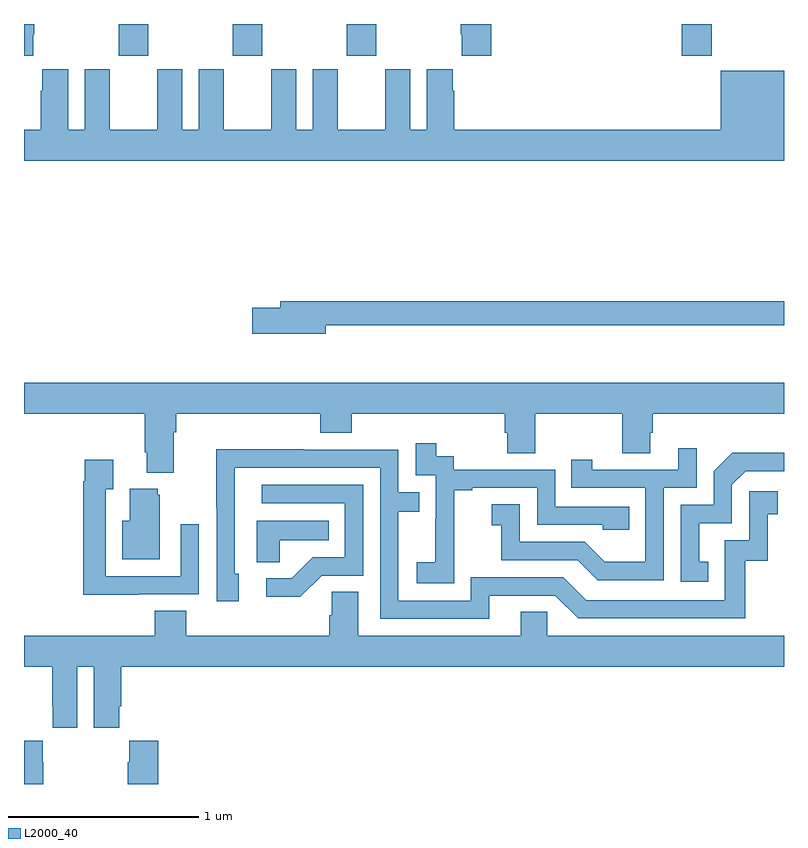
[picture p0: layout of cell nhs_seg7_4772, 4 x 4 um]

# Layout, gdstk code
import gdstk
lib = gdstk.Library(unit=1e-6, precision=1e-09)
def R(c, l, rs):  # rectangles x0, y0, x1, y1
    for r in rs: c.add(gdstk.rectangle(r[:2], r[2:], *l))
def A(c, l, x, y, w, h, nx, ny, dx, dy):  # array of equal rectangles
    R(c, l, [(x+i*dx, y+j*dy, x+i*dx+w, y+j*dy+h) for i in range(nx) for j in range(ny)])
def P(c, l, *ps):  # polygons
    for p in ps: c.add(gdstk.Polygon(p, *l))
L2000_40 = (2000, 40)

nhs_seg7_4772 = lib.new_cell('nhs_seg7_4772')
A(nhs_seg7_4772, L2000_40, 411.499, 1003.833, 0.155, 0.167, 3, 1, 0.6, 0)
R(nhs_seg7_4772, L2000_40, [(414.461,1003.833,414.621,1004)])
P(nhs_seg7_4772, L2000_40, [(411.049,1003.945),(411.054,1003.945),(411.054,1004),(411,1004),(411,1003.833),(411.049,1003.833)],
  [(413.459,1004),(413.299,1004),(413.299,1003.945),(413.303,1003.945),(413.303,1003.833),(413.459,1003.833)],
  [(415,1003.753),(414.668,1003.753),(414.668,1003.444),(413.264,1003.444),(413.264,1003.649),(413.257,1003.649),(413.257,1003.762),(413.12,1003.762),(413.12,1003.444),(413.032,1003.444),(413.032,1003.762),(412.901,1003.762),(412.901,1003.444),(412.651,1003.444),(412.651,1003.762),(412.52,1003.762),(412.52,1003.444),(412.432,1003.444),(412.432,1003.762),(412.301,1003.762),(412.301,1003.444),(412.051,1003.444),(412.051,1003.762),(411.92,1003.762),(411.92,1003.444),(411.832,1003.444),(411.832,1003.762),(411.701,1003.762),(411.701,1003.444),(411.451,1003.444),(411.451,1003.762),(411.32,1003.762),(411.32,1003.444),(411.232,1003.444),(411.232,1003.762),(411.095,1003.762),(411.095,1003.649),(411.089,1003.649),(411.089,1003.444),(411,1003.444),(411,1003.28),(415,1003.28)],
  [(412.588,1002.414),(415,1002.414),(415,1002.542),(412.349,1002.542),(412.349,1002.506),(412.2,1002.506),(412.2,1002.371),(412.588,1002.371)],
  [(411.787,1001.852),(411.8,1001.852),(411.8,1001.948),(412.559,1001.948),(412.559,1001.849),(412.724,1001.849),(412.724,1001.948),(413.531,1001.948),(413.531,1001.85),(413.543,1001.85),(413.543,1001.74),(413.691,1001.74),(413.691,1001.948),(414.148,1001.948),(414.148,1001.74),(414.295,1001.74),(414.295,1001.85),(414.308,1001.85),(414.308,1001.948),(415,1001.948),(415,1002.112),(411,1002.112),(411,1001.948),(411.635,1001.948),(411.635,1001.746),(411.647,1001.746),(411.647,1001.639),(411.787,1001.639)],
  [(413.265,1001.263),(413.264,1001.263),(413.264,1001.547),(413.359,1001.547),(413.359,1001.559),(413.7,1001.559),(413.7,1001.364),(414.045,1001.364),(414.045,1001.337),(414.185,1001.337),(414.185,1001.46),(413.796,1001.46),(413.796,1001.655),(413.262,1001.655),(413.262,1001.724),(413.17,1001.724),(413.17,1001.794),(413.061,1001.794),(413.061,1001.625),(413.166,1001.625),(413.166,1001.396),(413.165,1001.396),(413.165,1001.167),(413.067,1001.167),(413.067,1001.057),(413.265,1001.057)],
  [(414.366,1001.559),(414.54,1001.559),(414.54,1001.767),(414.443,1001.767),(414.443,1001.655),(413.992,1001.655),(413.992,1001.707),(413.881,1001.707),(413.881,1001.559),(414.27,1001.559),(414.27,1001.17),(414.056,1001.17),(413.952,1001.274),(413.61,1001.274),(413.61,1001.473),(413.463,1001.473),(413.463,1001.363),(413.512,1001.363),(413.512,1001.178),(413.915,1001.178),(414.02,1001.073),(414.366,1001.073)],
  [(413.449,1000.992),(413.796,1000.992),(413.916,1000.872),(414.796,1000.872),(414.796,1001.175),(414.914,1001.175),(414.914,1001.421),(414.967,1001.421),(414.967,1001.542),(414.816,1001.542),(414.816,1001.283),(414.687,1001.283),(414.687,1000.968),(413.958,1000.968),(413.838,1001.088),(413.352,1001.088),(413.352,1000.965),(412.971,1000.965),(412.971,1001.434),(413.081,1001.434),(413.081,1001.535),(412.971,1001.535),(412.971,1001.76),(412.475,1001.76),(412.475,1001.762),(412.012,1001.762),(412.012,1001.455),(412.014,1001.455),(412.014,1000.962),(412.129,1000.962),(412.129,1001.106),(412.11,1001.106),(412.11,1001.664),(412.875,1001.664),(412.875,1000.869),(413.449,1000.869)],
  [(414.602,1001.169),(414.553,1001.169),(414.553,1001.373),(414.726,1001.373),(414.726,1001.574),(414.798,1001.646),(415,1001.646),(415,1001.744),(414.728,1001.744),(414.63,1001.646),(414.63,1001.469),(414.456,1001.469),(414.456,1001.064),(414.602,1001.064)],
  [(411.605,1000.998),(411.921,1000.998),(411.921,1001.368),(411.825,1001.368),(411.825,1001.094),(411.429,1001.094),(411.429,1001.551),(411.469,1001.551),(411.469,1001.707),(411.321,1001.707),(411.321,1001.594),(411.313,1001.594),(411.313,1000.997),(411.605,1000.997)],
  [(412.566,1001.097),(412.785,1001.097),(412.785,1001.574),(412.251,1001.574),(412.251,1001.478),(412.689,1001.478),(412.689,1001.193),(412.52,1001.193),(412.409,1001.082),(412.275,1001.082),(412.275,1000.985),(412.453,1000.985)],
  [(411.715,1001.523),(411.704,1001.523),(411.704,1001.554),(411.557,1001.554),(411.557,1001.386),(411.518,1001.386),(411.518,1001.183),(411.715,1001.183)],
  [(412.347,1001.282),(412.604,1001.282),(412.604,1001.386),(412.226,1001.386),(412.226,1001.167),(412.347,1001.167)],
  [(411.28,1000.616),(411.368,1000.616),(411.368,1000.296),(411.502,1000.296),(411.502,1000.408),(411.512,1000.408),(411.512,1000.616),(415,1000.616),(415,1000.78),(413.754,1000.78),(413.754,1000.907),(413.615,1000.907),(413.615,1000.78),(412.759,1000.78),(412.759,1001.012),(412.62,1001.012),(412.62,1000.889),(412.607,1000.889),(412.607,1000.78),(411.854,1000.78),(411.854,1000.913),(411.689,1000.913),(411.689,1000.78),(411,1000.78),(411,1000.616),(411.149,1000.616),(411.149,1000.408),(411.15,1000.408),(411.15,1000.296),(411.28,1000.296)],
  [(411.102,1000.115),(411.099,1000.115),(411.099,1000.228),(411,1000.228),(411,1000),(411.102,1000)],
  [(411.707,1000.228),(411.553,1000.228),(411.553,1000.115),(411.547,1000.115),(411.547,1000),(411.707,1000)])

lib.write_gds('nhs_seg7_4772.gds')
